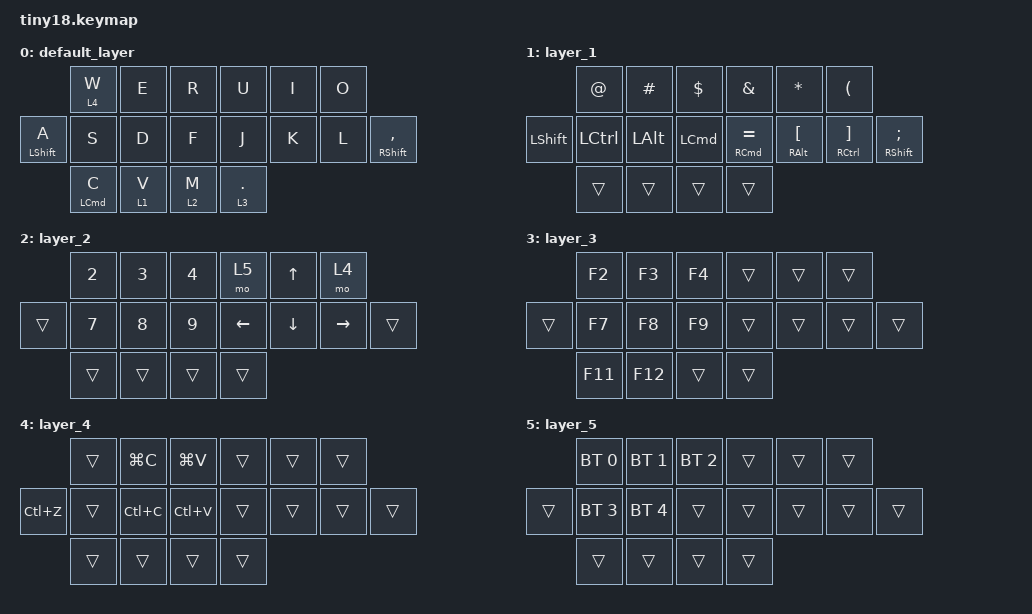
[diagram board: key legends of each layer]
#include <input/processors.dtsi>
#include <dt-bindings/zmk/input_transform.h>
#include <zephyr/dt-bindings/input/input-event-codes.h>
#include <behaviors.dtsi>
#include <dt-bindings/zmk/bt.h>
#include <dt-bindings/zmk/keys.h>


/ {
    combos {
        compatible = "zmk,combos";

        q {
            bindings = <&kp Q>;
            key-positions = <0 1>;
            layers = <0>;
        };

        t {
            bindings = <&kp T>;
            key-positions = <1 2>;
            layers = <0>;
        };

        y {
            bindings = <&kp Y>;
            key-positions = <3 4>;
            layers = <0>;
        };

        p {
            bindings = <&kp P>;
            key-positions = <4 5>;
            layers = <0>;
        };

        g {
            bindings = <&kp G>;
            key-positions = <8 9>;
            layers = <0>;
        };

        tab {
            bindings = <&kp TAB>;
            key-positions = <0 1 2>;
            layers = <0>;
        };

        h {
            bindings = <&kp H>;
            key-positions = <10 11>;
            layers = <0>;
        };

        enter {
            bindings = <&kp ENTER>;
            key-positions = <10 11 12>;
            layers = <0>;
        };

        x {
            bindings = <&kp X>;
            key-positions = <7 8>;
            layers = <0>;
        };

        z {
            bindings = <&kp Z>;
            key-positions = <6 7>;
            layers = <0>;
        };

        lang2 {
            bindings = <&mt LEFT_GUI LANGUAGE_2>;
            key-positions = <2 9>;
            layers = <0>;
        };

        b {
            bindings = <&kp B>;
            key-positions = <14 15>;
            layers = <0>;
        };

        Backspace {
            bindings = <&kp BACKSPACE>;
            key-positions = <3 4 5>;
            layers = <0>;
        };

        lang1 {
            bindings = <&mt RIGHT_GUI LANGUAGE_1>;
            key-positions = <3 10>;
            layers = <0>;
        };

        esc {
            bindings = <&kp ESCAPE>;
            key-positions = <0 1 9>;
            layers = <0>;
        };

        space {
            bindings = <&kp SPACE>;
            key-positions = <7 8 9>;
            layers = <0>;
        };

        slash {
            bindings = <&kp SLASH>;
            key-positions = <11 12>;
            layers = <0>;
        };

        n {
            bindings = <&kp N>;
            key-positions = <16 17>;
            layers = <0>;
        };

        excl {
            bindings = <&kp EXCLAMATION>;
            key-positions = <0 1>;
            layers = <1>;
        };

        percent {
            bindings = <&kp PERCENT>;
            key-positions = <1 2>;
            layers = <1>;
        };

        cret {
            bindings = <&kp CARET>;
            key-positions = <3 4>;
            layers = <1>;
        };

        rpar {
            bindings = <&kp RPAR>;
            key-positions = <4 5>;
            layers = <1>;
        };

        tab_l1 {
            bindings = <&kp TAB>;
            key-positions = <7 8>;
            layers = <1>;
        };

        minus {
            bindings = <&kp MINUS>;
            key-positions = <10 11>;
            layers = <1>;
        };

        backslash {
            bindings = <&kp BACKSLASH>;
            key-positions = <12 13>;
            layers = <1>;
        };

        single_quote {
            bindings = <&kp SINGLE_QUOTE>;
            key-positions = <11 12>;
            layers = <1>;
        };

        grave {
            bindings = <&kp GRAVE>;
            key-positions = <10 11 12>;
            layers = <1>;
        };

        n1 {
            bindings = <&kp N1>;
            key-positions = <0 1>;
            layers = <2>;
        };

        n5 {
            bindings = <&kp N5>;
            key-positions = <1 2>;
            layers = <2>;
        };

        n6 {
            bindings = <&kp N6>;
            key-positions = <7 8>;
            layers = <2>;
        };

        n0 {
            bindings = <&kp N0>;
            key-positions = <8 9>;
            layers = <2>;
        };

        f1 {
            bindings = <&kp F1>;
            key-positions = <0 1>;
            layers = <3>;
        };

        f5 {
            bindings = <&kp F5>;
            key-positions = <1 2>;
            layers = <3>;
        };

        f6 {
            bindings = <&kp F6>;
            key-positions = <7 8>;
            layers = <3>;
        };

        f10 {
            bindings = <&kp F10>;
            key-positions = <8 9>;
            layers = <3>;
        };

        bt_clr {
            bindings = <&bt BT_CLR>;
            key-positions = <14 15>;
            layers = <5>;
        };

        bt_clr_all {
            bindings = <&bt BT_CLR_ALL>;
            key-positions = <6 14 15>;
            layers = <5>;
        };

    };

    keymap {
        compatible = "zmk,keymap";

        default_layer {
            bindings = <
                              &lt 4 W             &kp E    &kp R    &kp U         &kp I  &kp O
            &mt LEFT_SHIFT A  &kp S               &kp D    &kp F    &kp J         &kp K  &kp L  &mt RIGHT_SHIFT COMMA
                              &mt LEFT_COMMAND C  &lt 1 V  &lt 2 M  &lt 3 PERIOD
            >;
        };

        layer_1 {
            bindings = <
                            &kp AT            &kp HASH      &kp DOLLAR        &kp AMPS          &kp ASTRK        &kp LPAR
            &kp LEFT_SHIFT  &kp LEFT_CONTROL  &kp LEFT_ALT  &kp LEFT_COMMAND  &mt RIGHT_COMMAND EQUAL &mt RIGHT_ALT LEFT_BRACKET  &mt RIGHT_CONTROL RIGHT_BRACKET  &mt RIGHT_SHIFT SEMICOLON
                                              &trans        &trans            &trans          &trans
            >;
        };

        layer_2 {
            bindings = <
                     &kp N2  &kp N3   &kp N4  &mo 5           &kp UP_ARROW    &mo 4
            &trans   &kp N7  &kp N8   &kp N9  &kp LEFT_ARROW  &kp DOWN_ARROW  &kp RIGHT_ARROW  &trans
                             &trans   &trans  &trans          &trans
            >;
        };

        layer_3 {
            bindings = <
                    &kp F2  &kp F3   &kp F4   &trans  &trans  &trans
            &trans  &kp F7  &kp F8   &kp F9   &trans  &trans  &trans  &trans
                            &kp F11  &kp F12  &trans  &trans  
            >;
        };

        layer_4 {
            bindings = <
                       &trans  &kp LG(C)  &kp LG(V)  &trans  &trans  &trans
            &kp LC(Z)  &trans  &kp LC(C)  &kp LC(V)  &trans  &trans  &trans  &trans
                               &trans     &trans     &trans  &trans
            >;
        };

        layer_5 {
            bindings = <
                    &bt BT_SEL 0  &bt BT_SEL 1  &bt BT_SEL 2  &trans  &trans  &trans
            &trans  &bt BT_SEL 3  &bt BT_SEL 4  &trans        &trans  &trans  &trans  &trans
                                  &trans        &trans        &trans  &trans
            >;
        };
    };
};
